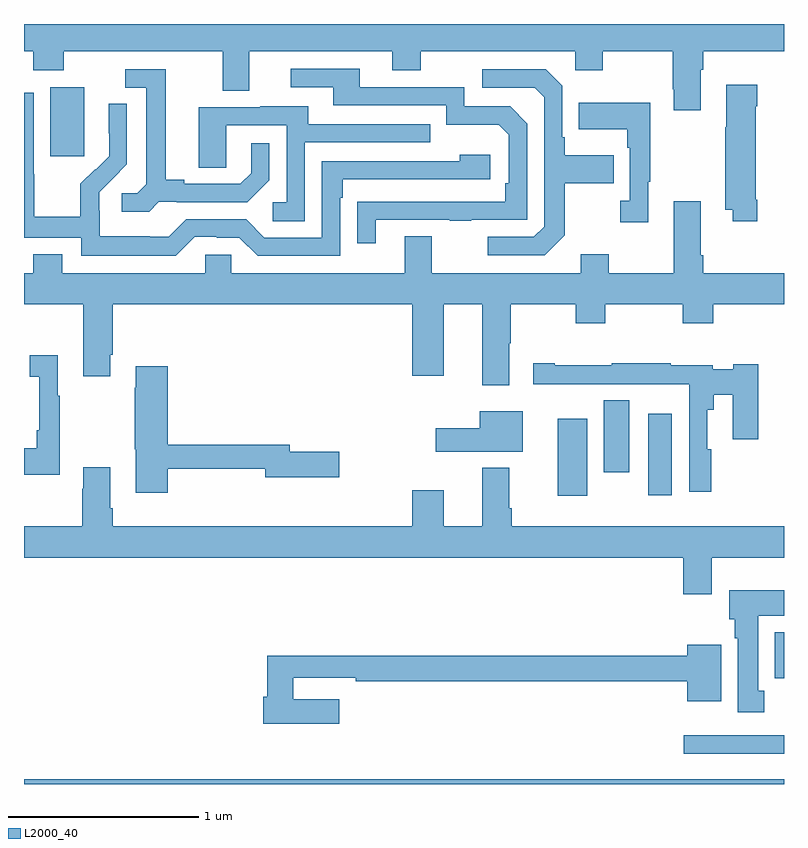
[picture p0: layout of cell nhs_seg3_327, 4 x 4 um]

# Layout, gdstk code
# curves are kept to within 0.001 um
import gdstk
lib = gdstk.Library(unit=1e-6, precision=1e-09)
def R(c, l, rs):  # rectangles x0, y0, x1, y1
    for r in rs: c.add(gdstk.rectangle(r[:2], r[2:], *l))
def P(c, l, *ps):  # polygons
    for p in ps: c.add(gdstk.Polygon(p, *l))
L2000_40 = (2000, 40)

nhs_seg3_327 = lib.new_cell('nhs_seg3_327')
R(nhs_seg3_327, L2000_40, [(127,690.4,131,690.424), (130.473,690.56,131,690.657), (130.952,690.956,131,691.198), (129.809,691.917,129.964,692.323), (130.286,691.92,130.408,692.35), (130.052,692.04,130.186,692.42), (127.139,693.705,127.318,694.066)])
P(nhs_seg3_327, L2000_40, [(130.561,694.16),(130.574,694.16),(130.574,694.256),(131,694.256),(131,694.4),(127,694.4),(127,694.256),(127.049,694.256),(127.049,694.157),(127.209,694.157),(127.209,694.256),(128.045,694.256),(128.045,694.048),(128.185,694.048),(128.185,694.256),(128.939,694.256),(128.939,694.157),(129.087,694.157),(129.087,694.256),(129.9,694.256),(129.9,694.157),(130.047,694.157),(130.047,694.256),(130.414,694.256),(130.414,694.057),(130.421,694.057),(130.421,693.945),(130.561,693.945)],
  [(128.851,693.369),(129.241,693.369),(129.241,693.364),(129.353,693.364),(129.353,693.369),(129.648,693.369),(129.648,693.876),(129.558,693.966),(129.318,693.966),(129.318,694.068),(128.767,694.068),(128.767,694.164),(128.403,694.164),(128.403,694.068),(128.627,694.068),(128.627,693.972),(129.222,693.972),(129.222,693.869),(129.499,693.869),(129.552,693.816),(129.552,693.562),(129.532,693.562),(129.532,693.465),(128.755,693.464),(128.755,693.246),(128.851,693.246)],
  [(129.847,693.289),(129.847,693.562),(130.103,693.562),(130.103,693.709),(129.847,693.709),(129.847,693.805),(129.834,693.805),(129.834,694.074),(129.747,694.161),(129.411,694.161),(129.411,694.065),(129.687,694.065),(129.738,694.014),(129.738,693.333),(129.684,693.279),(129.441,693.279),(129.441,693.183),(129.741,693.183)],
  [(127.71,693.465),(127.804,693.465),(127.804,693.462),(128.176,693.462),(128.292,693.578),(128.292,693.772),(128.195,693.772),(128.195,693.615),(128.138,693.558),(127.843,693.558),(127.843,693.581),(127.747,693.581),(127.747,694.161),(127.533,694.161),(127.533,694.065),(127.643,694.065),(127.643,693.557),(127.596,693.51),(127.515,693.51),(127.515,693.413),(127.658,693.413)],
  [(130.86,693.475),(130.852,693.475),(130.852,693.968),(130.86,693.968),(130.86,694.081),(130.697,694.081),(130.697,693.857),(130.69,693.857),(130.69,693.422),(130.73,693.422),(130.73,693.363),(130.86,693.363)],
  [(127.899,693.279),(128.015,693.279),(128.015,693.276),(128.133,693.276),(128.229,693.18),(128.664,693.18),(128.664,693.485),(128.677,693.485),(128.677,693.582),(129.454,693.582),(129.454,693.712),(129.293,693.712),(129.293,693.678),(128.568,693.678),(128.568,693.276),(128.265,693.276),(128.169,693.372),(127.854,693.372),(127.761,693.279),(127.661,693.279),(127.661,693.283),(127.398,693.283),(127.398,693.417),(127.396,693.417),(127.396,693.514),(127.542,693.662),(127.542,693.98),(127.446,693.98),(127.446,693.826),(127.448,693.826),(127.448,693.704),(127.377,693.633),(127.374,693.636),(127.297,693.559),(127.297,693.385),(127.053,693.385),(127.053,693.608),(127.05,693.608),(127.05,694.038),(127,694.038),(127,693.276),(127.302,693.276),(127.302,693.179),(127.799,693.179)],
  [(130.285,693.569),(130.297,693.569),(130.297,693.985),(129.919,693.985),(129.919,693.845),(130.176,693.845),(130.176,693.749),(130.188,693.749),(130.188,693.47),(130.137,693.47),(130.137,693.357),(130.285,693.357)],
  [(128.478,693.777),(129.137,693.777),(129.137,693.873),(128.497,693.873),(128.497,693.967),(128.243,693.967),(128.243,693.963),(127.919,693.963),(127.919,693.643),(128.064,693.643),(128.064,693.867),(128.382,693.867),(128.382,693.462),(128.31,693.462),(128.31,693.361),(128.478,693.361)],
  [(129.553,692.72),(129.561,692.72),(129.561,692.924),(129.904,692.924),(129.904,692.825),(130.059,692.825),(130.059,692.924),(130.468,692.924),(130.468,692.825),(130.628,692.825),(130.628,692.924),(131,692.924),(131,693.088),(130.574,693.088),(130.574,693.184),(130.561,693.184),(130.561,693.466),(130.421,693.466),(130.421,693.088),(130.077,693.088),(130.077,693.187),(129.929,693.187),(129.929,693.088),(129.145,693.088),(129.145,693.283),(129.005,693.283),(129.005,693.088),(128.091,693.088),(128.091,693.186),(127.953,693.186),(127.953,693.088),(127.201,693.088),(127.201,693.187),(127.049,693.187),(127.049,693.088),(127,693.088),(127,692.924),(127.313,692.924),(127.313,692.547),(127.453,692.547),(127.453,692.659),(127.466,692.659),(127.466,692.924),(129.044,692.924),(129.044,692.55),(129.208,692.55),(129.208,692.924),(129.413,692.924),(129.413,692.499),(129.553,692.499)],
  [(127.189,692.443),(127.177,692.443),(127.177,692.656),(127.029,692.656),(127.029,692.543),(127.08,692.543),(127.08,692.263),(127.068,692.263),(127.068,692.167),(127,692.167),(127,692.027),(127.189,692.027)],
  [(130.616,692.162),(130.597,692.162),(130.597,692.369),(130.63,692.369),(130.63,692.45),(130.73,692.45),(130.73,692.214),(130.864,692.214),(130.864,692.61),(130.734,692.61),(130.734,692.584),(130.626,692.584),(130.626,692.604),(130.403,692.604),(130.403,692.614),(130.093,692.614),(130.093,692.604),(129.793,692.604),(129.793,692.614),(129.681,692.614),(129.681,692.504),(129.956,692.504),(129.956,692.505),(130.29,692.505),(130.29,692.504),(130.5,692.504),(130.5,691.938),(130.616,691.938)],
  [(127.757,692.058),(128.27,692.058),(128.27,692.015),(128.659,692.015),(128.659,692.15),(128.398,692.15),(128.398,692.186),(127.757,692.186),(127.757,692.599),(127.589,692.599),(127.589,692.486),(127.582,692.486),(127.582,692.163),(127.589,692.163),(127.589,691.932),(127.757,691.932)],
  [(129.625,692.362),(129.398,692.362),(129.398,692.272),(129.168,692.272),(129.168,692.15),(129.625,692.15)],
  [(130.621,691.592),(131,691.592),(131,691.756),(129.566,691.756),(129.566,691.852),(129.553,691.852),(129.553,692.065),(129.413,692.065),(129.413,691.756),(129.208,691.756),(129.208,691.945),(129.044,691.945),(129.044,691.756),(127.466,691.756),(127.466,691.852),(127.453,691.852),(127.453,692.068),(127.313,692.068),(127.313,691.955),(127.306,691.955),(127.306,691.756),(127,691.756),(127,691.592),(130.469,691.592),(130.469,691.398),(130.621,691.398)],
  [(130.897,690.89),(130.864,690.89),(130.864,691.286),(131,691.286),(131,691.42),(130.712,691.42),(130.712,691.266),(130.742,691.266),(130.742,691.166),(130.757,691.166),(130.757,690.777),(130.897,690.777)],
  [(128.659,690.847),(128.417,690.847),(128.417,690.96),(128.746,690.96),(128.746,690.94),(130.49,690.94),(130.49,690.836),(130.669,690.836),(130.669,691.132),(130.49,691.132),(130.49,691.076),(128.281,691.076),(128.281,690.86),(128.258,690.86),(128.258,690.718),(128.659,690.718)])

lib.write_gds('nhs_seg3_327.gds')
